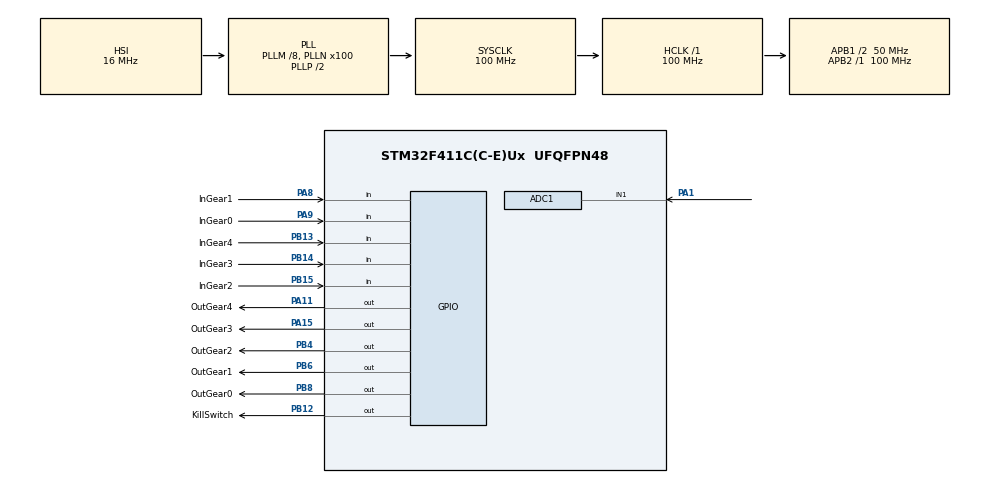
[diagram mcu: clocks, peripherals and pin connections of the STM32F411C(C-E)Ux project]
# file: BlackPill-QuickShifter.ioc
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ADC1.Channel-1\#ChannelRegularConversion=ADC_CHANNEL_1
ADC1.NbrOfConversionFlag=1
ADC1.Rank-1\#ChannelRegularConversion=1
ADC1.SamplingTime-1\#ChannelRegularConversion=ADC_SAMPLETIME_3CYCLES
ADC1.master=1
Dma.ADC1.0.Direction=DMA_PERIPH_TO_MEMORY
Dma.ADC1.0.FIFOMode=DMA_FIFOMODE_DISABLE
Dma.ADC1.0.Instance=DMA2_Stream0
Dma.ADC1.0.MemDataAlignment=DMA_MDATAALIGN_HALFWORD
Dma.ADC1.0.MemInc=DMA_MINC_ENABLE
Dma.ADC1.0.Mode=DMA_NORMAL
Dma.ADC1.0.PeriphDataAlignment=DMA_PDATAALIGN_HALFWORD
Dma.ADC1.0.PeriphInc=DMA_PINC_DISABLE
Dma.ADC1.0.Priority=DMA_PRIORITY_LOW
Dma.Request0=ADC1
Mcu.Family=STM32F4
Mcu.Name=STM32F411C(C-E)Ux
Mcu.Package=UFQFPN48
NVIC.DMA2_Stream0_IRQn=true\:0\:0\:false\:false\:true\:false\:true\:true
NVIC.PriorityGroup=NVIC_PRIORITYGROUP_4
PA1.Signal=ADCx_IN1
PA11.GPIO_Label=OutGear4
PA11.GPIO_PuPd=GPIO_PULLDOWN
PA11.Signal=GPIO_Output
PA15.GPIO_Label=OutGear3
PA15.GPIO_PuPd=GPIO_PULLDOWN
PA15.Signal=GPIO_Output
PA8.GPIO_Label=InGear1
PA8.GPIO_PuPd=GPIO_PULLUP
PA8.Signal=GPIO_Input
PA9.GPIO_Label=InGear0
PA9.GPIO_PuPd=GPIO_PULLUP
PA9.Signal=GPIO_Input
PB12.GPIO_Label=KillSwitch
PB12.GPIO_PuPd=GPIO_PULLDOWN
PB12.Signal=GPIO_Output
PB13.GPIO_Label=InGear4
PB13.GPIO_PuPd=GPIO_PULLUP
PB13.Signal=GPIO_Input
PB14.GPIO_Label=InGear3
PB14.GPIO_PuPd=GPIO_PULLUP
PB14.Signal=GPIO_Input
PB15.GPIO_Label=InGear2
PB15.GPIO_PuPd=GPIO_PULLUP
PB15.Signal=GPIO_Input
PB4.GPIO_Label=OutGear2
PB4.GPIO_PuPd=GPIO_PULLDOWN
PB4.Signal=GPIO_Output
PB6.GPIO_Label=OutGear1
PB6.GPIO_PuPd=GPIO_PULLDOWN
PB6.Signal=GPIO_Output
PB8.GPIO_Label=OutGear0
PB8.GPIO_PuPd=GPIO_PULLDOWN
PB8.Signal=GPIO_Output
PC14-OSC32_IN.Mode=LSE-External-Oscillator
PC14-OSC32_IN.Signal=RCC_OSC32_IN
PC15-OSC32_OUT.Mode=LSE-External-Oscillator
PC15-OSC32_OUT.Signal=RCC_OSC32_OUT
ProjectManager.HeapSize=0x200
ProjectManager.StackSize=0x400
ProjectManager.TargetToolchain=STM32CubeIDE
RCC.48MHZClocksFreq_Value=50000000
RCC.AHBFreq_Value=100000000
RCC.APB1CLKDivider=RCC_HCLK_DIV2
RCC.APB1Freq_Value=50000000
RCC.APB1TimFreq_Value=100000000
RCC.APB2Freq_Value=100000000
RCC.APB2TimFreq_Value=100000000
RCC.CortexFreq_Value=100000000
RCC.HCLKFreq_Value=100000000
RCC.HSE_VALUE=25000000
RCC.HSI_VALUE=16000000
RCC.PLLM=8
RCC.PLLN=100
RCC.SYSCLKFreq_VALUE=100000000
RCC.SYSCLKSource=RCC_SYSCLKSOURCE_PLLCLK
RCC.VCOOutputFreq_Value=200000000
SH.ADCx_IN1.0=ADC1_IN1,IN1
TIM3.Prescaler=10000-1
VP_TIM3_VS_ClockSourceINT.Mode=Internal
board=custom

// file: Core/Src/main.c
/* USER CODE BEGIN Header */
/**
  ******************************************************************************
  * @file           : main.c
  * @brief          : Main program body
  ******************************************************************************
  * @attention
  *
  * Copyright (c) 2024 STMicroelectronics.
  * All rights reserved.
  *
  * This software is licensed under terms that can be found in the LICENSE file
  * in the root directory of this software component.
  * If no LICENSE file comes with this software, it is provided AS-IS.
  *
  ******************************************************************************
  */
/* USER CODE END Header */
#include "main.h"

/* USER CODE BEGIN Includes */
#include "stdbool.h"
/* USER CODE END Includes */

/* USER CODE BEGIN PD */

#define ADC_BUF_LEN 4096
#define UpShiftDeadZone 60
#define DownShiftDeadZone 60

/* USER CODE END PD */

ADC_HandleTypeDef hadc1;
DMA_HandleTypeDef hdma_adc1;

TIM_HandleTypeDef htim3;

/* USER CODE BEGIN PV */

uint16_t adc_buf[ADC_BUF_LEN];
uint16_t (*pAdc_buf)[ADC_BUF_LEN] = &adc_buf;

/* USER CODE END PV */

void SystemClock_Config(void);
static void MX_GPIO_Init(void);
static void MX_DMA_Init(void);
static void MX_ADC1_Init(void);
static void MX_TIM3_Init(void);

/* USER CODE BEGIN 0 */

uint16_t ShifterPosition = 0;
uint16_t CalibratedShifterPosition = 0;
uint16_t Timer3 = 0;
int8_t EngagedGear = 0;
int8_t PrevEngagedGear= 0;
bool KillSwitch = 0;
bool GearShiftFail = 0;

/* USER CODE END 0 */

int main(void)
{

  /* MCU Configuration--------------------------------------------------------*/

  /* Reset of all peripherals, Initializes the Flash interface and the Systick. */
  HAL_Init();

  /* Configure the system clock */
  SystemClock_Config();

  /* Initialize all configured peripherals */
  MX_GPIO_Init();
  MX_DMA_Init();
  MX_ADC1_Init();
  MX_TIM3_Init();
  /* USER CODE BEGIN 2 */

  HAL_ADC_Start_DMA(&hadc1, (uint32_t*) adc_buf, ADC_BUF_LEN);

    void TryRecalibrateSensor(){
    	  Timer3 = __HAL_TIM_GET_COUNTER(&htim3);
    	  if (Timer3 >= 15000){
    		  CalibratedShifterPosition = ShifterPosition;
    		  HAL_TIM_Base_Stop(&htim3);
    		  TIM3->CNT = 0;
    	  }
    }

    int GetShifterPosition(uint16_t *pAdc_buf){
       uint32_t AdcAverage = 0;
       for (int i = 0; i < ADC_BUF_LEN; i++) {
           AdcAverage += *pAdc_buf;
           pAdc_buf += 1;
       }
       AdcAverage /= ADC_BUF_LEN;
       return AdcAverage;
    }

    int GetGearValue(){
  	  int gearValue = 99; // default value if none of the pins are low or selector barrel in between 2 gears

        switch(HAL_GPIO_ReadPin(InGear0_GPIO_Port, InGear0_Pin)) {
        	  case GPIO_PIN_RESET: // pin is low so gear is engaged
        		  gearValue = 0;
        		  break;
        	  case GPIO_PIN_SET: // pin is high
        		  switch(HAL_GPIO_ReadPin(InGear1_GPIO_Port, InGear1_Pin)) {
        		  	  case GPIO_PIN_RESET:
        		  		  gearValue = 1;
        		  		  break;
        		  	  case GPIO_PIN_SET:
        		  		  switch(HAL_GPIO_ReadPin(InGear2_GPIO_Port, InGear2_Pin)) {
        		  		  	  case GPIO_PIN_RESET:
        		  		  		  gearValue = 2;
        		  		  		  break;
        		  		  	  case GPIO_PIN_SET:
        		  		  		  switch(HAL_GPIO_ReadPin(InGear3_GPIO_Port, InGear3_Pin)) {
        		  		  		  	  case GPIO_PIN_RESET:
        		  		  		  		  gearValue = 3;
        		  		  		  		  break;
        		  		  		  	  case GPIO_PIN_SET:
        		  		  		  		  switch(HAL_GPIO_ReadPin(InGear4_GPIO_Port, InGear4_Pin)) {
        		  		  		  		  	  case GPIO_PIN_RESET:
        		  		  		  		  		  gearValue = 4;
                      	                      break;
        		  		  		  		  	  case GPIO_PIN_SET:
        		  		  		  		  		  break;
        		  		  		  		  }
        		  		  		  		  break;
        		  		  		  }
        		  		  		  break;
        		  		  }
        		  		  break;
        		  }
        		  break;
        }
        return gearValue;
    }

    void ResetAllOutputs(){
  	  HAL_GPIO_WritePin(OutGear0_GPIO_Port, OutGear0_Pin, GPIO_PIN_RESET);
  	  HAL_GPIO_WritePin(OutGear1_GPIO_Port, OutGear1_Pin, GPIO_PIN_RESET);
  	  HAL_GPIO_WritePin(OutGear2_GPIO_Port, OutGear2_Pin, GPIO_PIN_RESET);
  	  HAL_GPIO_WritePin(OutGear3_GPIO_Port, OutGear3_Pin, GPIO_PIN_RESET);
  	  HAL_GPIO_WritePin(OutGear4_GPIO_Port, OutGear4_Pin, GPIO_PIN_RESET);
    }

    void SetGearIndicator(){
  	  switch(EngagedGear){
  		  case 0:
  			  ResetAllOutputs();
  			  HAL_GPIO_WritePin(OutGear0_GPIO_Port, OutGear0_Pin, GPIO_PIN_SET);
  			  break;
  		  case 1:
  			  ResetAllOutputs();
  			  HAL_GPIO_WritePin(OutGear1_GPIO_Port, OutGear1_Pin, GPIO_PIN_SET);
  			  break;
  		  case 2:
  			  ResetAllOutputs();
  			  HAL_GPIO_WritePin(OutGear2_GPIO_Port, OutGear2_Pin, GPIO_PIN_SET);
  			  break;
  		  case 3:
  			  ResetAllOutputs();
  			  HAL_GPIO_WritePin(OutGear3_GPIO_Port, OutGear3_Pin, GPIO_PIN_SET);
  			  break;
  		  case 4:
  			  ResetAllOutputs();
  			  HAL_GPIO_WritePin(OutGear4_GPIO_Port, OutGear4_Pin, GPIO_PIN_SET);
  			  break;
  	  }
    }

    bool WaitForUpShift() {
  	  while ((EngagedGear != (PrevEngagedGear + 1)) || (ShifterPosition > (CalibratedShifterPosition - 200))){
  		  EngagedGear = GetGearValue();
  		  ShifterPosition = GetShifterPosition(*pAdc_buf);

  		  // Up shift Failed, going back into lower gear
  		  if (ShifterPosition > (CalibratedShifterPosition + DownShiftDeadZone)) {
  			  PrevEngagedGear++;
  			  return true;
  			  break;
  		  }
  	  }
  	  return false;
    }

    bool WaitForDownShift(){
  	  while ((EngagedGear != (PrevEngagedGear - 1)) || (ShifterPosition < (CalibratedShifterPosition + 200))){
  		  EngagedGear = GetGearValue();
  		  ShifterPosition = GetShifterPosition(*pAdc_buf);

  		  // Down shift Failed, going back into upper gear
  		  if (ShifterPosition < (CalibratedShifterPosition - UpShiftDeadZone)) {
  			  PrevEngagedGear--;
  			  return true;
  			  break;
  		  }
  	  }
  	  return false;
    }

    CalibratedShifterPosition = GetShifterPosition(*pAdc_buf);

    HAL_GPIO_WritePin(GPIOC, GPIO_PIN_13, GPIO_PIN_RESET);

    //Set the initial EngagedGear
    EngagedGear = GetGearValue();
    SetGearIndicator(&EngagedGear);

    HAL_TIM_Base_Start(&htim3);

  /* USER CODE END 2 */

  /* Infinite loop */
  /* USER CODE BEGIN WHILE */
  while (1)
  {
	  ShifterPosition = GetShifterPosition(*pAdc_buf);
	  TryRecalibrateSensor();
	  HAL_GPIO_WritePin(GPIOC, GPIO_PIN_13, GPIO_PIN_RESET);

	  // Up shift
	  if (ShifterPosition < (CalibratedShifterPosition - UpShiftDeadZone)) {
	  	  PrevEngagedGear = EngagedGear;
	  	  ExitToUpShift:

	  	  if (EngagedGear != 0){
	  		  HAL_GPIO_WritePin(KillSwitch_GPIO_Port, KillSwitch_Pin, GPIO_PIN_SET);
	  		  HAL_GPIO_WritePin(GPIOC, GPIO_PIN_13, GPIO_PIN_SET);
	  		  KillSwitch = 1;

	  		  GearShiftFail = WaitForUpShift();
	  		  if (GearShiftFail == true) {
	  			  GearShiftFail = false;
	  			  goto ExitToDownShift;
	  		  }

	  		  EngagedGear = GetGearValue();
	  		  SetGearIndicator();

	  		  HAL_Delay(200);
	  		  HAL_GPIO_WritePin(KillSwitch_GPIO_Port, KillSwitch_Pin, GPIO_PIN_RESET);
	  		  HAL_GPIO_WritePin(GPIOC, GPIO_PIN_13, GPIO_PIN_RESET);
	  		  KillSwitch = 0;
	  	  }
	  	  else {
	  		  WaitForUpShift();
	  		  SetGearIndicator();
	  	  }

	  	  while (ShifterPosition < (CalibratedShifterPosition - (UpShiftDeadZone - 10))){
	  		  ShifterPosition = GetShifterPosition(*pAdc_buf);
	  	  }

	  	  TIM3->CNT = 0;
	  	  HAL_TIM_Base_Start(&htim3);
	  }

	  // Down shift
	  if (ShifterPosition > (CalibratedShifterPosition + DownShiftDeadZone)){
	  	  PrevEngagedGear = EngagedGear;
	  	  ExitToDownShift:

	  	  GearShiftFail = WaitForDownShift();
	  	  if (GearShiftFail == true) {
	  		  GearShiftFail = false;
	  		  goto ExitToUpShift;
	  	  }

	  	  SetGearIndicator();

	  	  while (ShifterPosition > (CalibratedShifterPosition + (DownShiftDeadZone - 10))){
	  		  ShifterPosition = GetShifterPosition(*pAdc_buf);
	  	  }

	  	  TIM3->CNT = 0;
	  	  HAL_TIM_Base_Start(&htim3);
	  }
  }
    /* USER CODE END WHILE */

}

void SystemClock_Config(void)
{
  RCC_OscInitTypeDef RCC_OscInitStruct = {0};
  RCC_ClkInitTypeDef RCC_ClkInitStruct = {0};

  /** Configure the main internal regulator output voltage
  */
  __HAL_RCC_PWR_CLK_ENABLE();
  __HAL_PWR_VOLTAGESCALING_CONFIG(PWR_REGULATOR_VOLTAGE_SCALE1);

  /** Initializes the RCC Oscillators according to the specified parameters
  * in the RCC_OscInitTypeDef structure.
  */
  RCC_OscInitStruct.OscillatorType = RCC_OSCILLATORTYPE_HSI;
  RCC_OscInitStruct.HSIState = RCC_HSI_ON;
  RCC_OscInitStruct.HSICalibrationValue = RCC_HSICALIBRATION_DEFAULT;
  RCC_OscInitStruct.PLL.PLLState = RCC_PLL_ON;
  RCC_OscInitStruct.PLL.PLLSource = RCC_PLLSOURCE_HSI;
  RCC_OscInitStruct.PLL.PLLM = 8;
  RCC_OscInitStruct.PLL.PLLN = 100;
  RCC_OscInitStruct.PLL.PLLP = RCC_PLLP_DIV2;
  RCC_OscInitStruct.PLL.PLLQ = 4;
  if (HAL_RCC_OscConfig(&RCC_OscInitStruct) != HAL_OK)
  {
    Error_Handler();
  }

  /** Initializes the CPU, AHB and APB buses clocks
  */
  RCC_ClkInitStruct.ClockType = RCC_CLOCKTYPE_HCLK|RCC_CLOCKTYPE_SYSCLK
                              |RCC_CLOCKTYPE_PCLK1|RCC_CLOCKTYPE_PCLK2;
  RCC_ClkInitStruct.SYSCLKSource = RCC_SYSCLKSOURCE_PLLCLK;
  RCC_ClkInitStruct.AHBCLKDivider = RCC_SYSCLK_DIV1;
  RCC_ClkInitStruct.APB1CLKDivider = RCC_HCLK_DIV2;
  RCC_ClkInitStruct.APB2CLKDivider = RCC_HCLK_DIV1;

  if (HAL_RCC_ClockConfig(&RCC_ClkInitStruct, FLASH_LATENCY_3) != HAL_OK)
  {
    Error_Handler();
  }
}

static void MX_ADC1_Init(void)
{

  ADC_ChannelConfTypeDef sConfig = {0};

  /** Configure the global features of the ADC (Clock, Resolution, Data Alignment and number of conversion)
  */
  hadc1.Instance = ADC1;
  hadc1.Init.ClockPrescaler = ADC_CLOCK_SYNC_PCLK_DIV4;
  hadc1.Init.Resolution = ADC_RESOLUTION_12B;
  hadc1.Init.ScanConvMode = DISABLE;
  hadc1.Init.ContinuousConvMode = ENABLE;
  hadc1.Init.DiscontinuousConvMode = DISABLE;
  hadc1.Init.ExternalTrigConvEdge = ADC_EXTERNALTRIGCONVEDGE_NONE;
  hadc1.Init.ExternalTrigConv = ADC_SOFTWARE_START;
  hadc1.Init.DataAlign = ADC_DATAALIGN_RIGHT;
  hadc1.Init.NbrOfConversion = 1;
  hadc1.Init.DMAContinuousRequests = DISABLE;
  hadc1.Init.EOCSelection = ADC_EOC_SINGLE_CONV;
  if (HAL_ADC_Init(&hadc1) != HAL_OK)
  {
    Error_Handler();
  }

  /** Configure for the selected ADC regular channel its corresponding rank in the sequencer and its sample time.
  */
  sConfig.Channel = ADC_CHANNEL_1;
  sConfig.Rank = 1;
  sConfig.SamplingTime = ADC_SAMPLETIME_3CYCLES;
  if (HAL_ADC_ConfigChannel(&hadc1, &sConfig) != HAL_OK)
  {
    Error_Handler();
  }

}

static void MX_TIM3_Init(void)
{

  TIM_ClockConfigTypeDef sClockSourceConfig = {0};
  TIM_MasterConfigTypeDef sMasterConfig = {0};

  htim3.Instance = TIM3;
  htim3.Init.Prescaler = 10000-1;
  htim3.Init.CounterMode = TIM_COUNTERMODE_UP;
  htim3.Init.Period = 65535;
  htim3.Init.ClockDivision = TIM_CLOCKDIVISION_DIV1;
  htim3.Init.AutoReloadPreload = TIM_AUTORELOAD_PRELOAD_DISABLE;
  if (HAL_TIM_Base_Init(&htim3) != HAL_OK)
  {
    Error_Handler();
  }
  sClockSourceConfig.ClockSource = TIM_CLOCKSOURCE_INTERNAL;
  if (HAL_TIM_ConfigClockSource(&htim3, &sClockSourceConfig) != HAL_OK)
  {
    Error_Handler();
  }
  sMasterConfig.MasterOutputTrigger = TIM_TRGO_RESET;
  sMasterConfig.MasterSlaveMode = TIM_MASTERSLAVEMODE_DISABLE;
  if (HAL_TIMEx_MasterConfigSynchronization(&htim3, &sMasterConfig) != HAL_OK)
  {
    Error_Handler();
  }

}

static void MX_DMA_Init(void)
{

  /* DMA controller clock enable */
  __HAL_RCC_DMA2_CLK_ENABLE();

  /* DMA interrupt init */
  /* DMA2_Stream0_IRQn interrupt configuration */
  HAL_NVIC_SetPriority(DMA2_Stream0_IRQn, 0, 0);
  HAL_NVIC_EnableIRQ(DMA2_Stream0_IRQn);

}

static void MX_GPIO_Init(void)
{
  GPIO_InitTypeDef GPIO_InitStruct = {0};

  /* GPIO Ports Clock Enable */
  __HAL_RCC_GPIOC_CLK_ENABLE();
  __HAL_RCC_GPIOA_CLK_ENABLE();
  __HAL_RCC_GPIOB_CLK_ENABLE();

  /*Configure GPIO pin Output Level */
  HAL_GPIO_WritePin(GPIOB, KillSwitch_Pin|OutGear2_Pin|OutGear1_Pin|OutGear0_Pin, GPIO_PIN_RESET);

  /*Configure GPIO pin Output Level */
  HAL_GPIO_WritePin(GPIOA, OutGear4_Pin|OutGear3_Pin, GPIO_PIN_RESET);

  /*Configure GPIO pins : KillSwitch_Pin OutGear2_Pin OutGear1_Pin OutGear0_Pin */
  GPIO_InitStruct.Pin = KillSwitch_Pin|OutGear2_Pin|OutGear1_Pin|OutGear0_Pin;
  GPIO_InitStruct.Mode = GPIO_MODE_OUTPUT_PP;
  GPIO_InitStruct.Pull = GPIO_PULLDOWN;
  GPIO_InitStruct.Speed = GPIO_SPEED_FREQ_LOW;
  HAL_GPIO_Init(GPIOB, &GPIO_InitStruct);

  /*Configure GPIO pins : InGear4_Pin InGear3_Pin InGear2_Pin */
  GPIO_InitStruct.Pin = InGear4_Pin|InGear3_Pin|InGear2_Pin;
  GPIO_InitStruct.Mode = GPIO_MODE_INPUT;
  GPIO_InitStruct.Pull = GPIO_PULLUP;
  HAL_GPIO_Init(GPIOB, &GPIO_InitStruct);

  /*Configure GPIO pins : InGear1_Pin InGear0_Pin */
  GPIO_InitStruct.Pin = InGear1_Pin|InGear0_Pin;
  GPIO_InitStruct.Mode = GPIO_MODE_INPUT;
  GPIO_InitStruct.Pull = GPIO_PULLUP;
  HAL_GPIO_Init(GPIOA, &GPIO_InitStruct);

  /*Configure GPIO pins : OutGear4_Pin OutGear3_Pin */
  GPIO_InitStruct.Pin = OutGear4_Pin|OutGear3_Pin;
  GPIO_InitStruct.Mode = GPIO_MODE_OUTPUT_PP;
  GPIO_InitStruct.Pull = GPIO_PULLDOWN;
  GPIO_InitStruct.Speed = GPIO_SPEED_FREQ_LOW;
  HAL_GPIO_Init(GPIOA, &GPIO_InitStruct);

}

void Error_Handler(void)
{
  __disable_irq();
  while (1)
  {
  }
}
